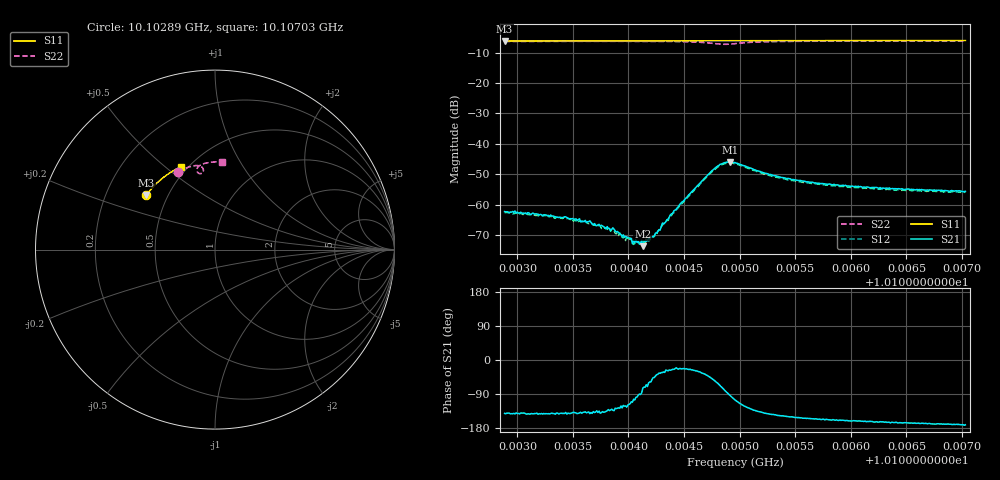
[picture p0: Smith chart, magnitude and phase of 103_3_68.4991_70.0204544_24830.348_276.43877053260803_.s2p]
#  HZ  S  RI  R  50.00
! Rohde & Schwarz Vector Network Analyzer
! Rohde-Schwarz,ZNB20-2Port,1311601062101988,3.16
! Created: UTC 3/20/2024, 4:53:09 PM
! freq[Hz]  re:S11  im:S11  re:S21  im:S21  re:S12  im:S12  re:S22  im:S22
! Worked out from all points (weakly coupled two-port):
!   401 points, 10.10289 GHz to 10.10703 GHz, reference 50 ohm
!   highest |S21| = -45.89 dB at 10.10492 GHz (marker M1); lowest = -73.5 dB at 10.10413 GHz (marker M2)
!   lowest |S11| = -6.2 dB at 10.10289 GHz (marker M3), VSWR 2.91, Z = 19 + j15.2 ohm
!   |S11| at or under -10 dB: nowhere
!   |S22| runs from -7.3 to -6.2 dB; largest |S21 - S12| = 0.0005
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1.0102886e10  -0.3819 0.3039  -0.000601 -0.000489  -0.000533 -0.000516  -0.2047 0.4346
1.01033e10  -0.3665 0.3239  -0.000532 -0.000427  -0.000474 -0.000445  -0.1799 0.4466
1.010358e10  -0.3556 0.3372  -0.000419 -0.000346  -0.000387 -0.000355  -0.1621 0.454
1.0103632e10  -0.3536 0.3395  -0.000394 -0.000354  -0.000347 -0.000363  -0.1587 0.4553
1.0103725e10  -0.3497 0.3438  -0.000352 -0.000313  -0.000309 -0.000333  -0.1526 0.4575
1.010388e10  -0.3434 0.3508  -0.000226 -0.000297  -0.000189 -0.000284  -0.1419 0.4611
1.0103953e10  -0.3404 0.3539  -0.000162 -0.000279  -0.000137 -0.000251  -0.1367 0.4625
1.0104005e10  -0.3383 0.3563  -0.000132 -0.000255  -8.78e-05 -0.000262  -0.1329 0.4635
1.0104057e10  -0.3359 0.3584  -6.37e-05 -0.000231  -4.91e-05 -0.000229  -0.129 0.4645
1.0104129e10  -0.333 0.3618  5.76e-05 -0.000202  7.17e-05 -0.000249  -0.1236 0.4658
1.010415e10  -0.332 0.3626  8.05e-05 -0.000244  8.92e-05 -0.000196  -0.1221 0.4663
1.0104202e10  -0.3297 0.3648  0.000156 -0.000249  0.000174 -0.000224  -0.1177 0.467
1.0104274e10  -0.3267 0.3678  0.000323 -0.000222  0.000329 -0.000192  -0.1115 0.4677
1.0104399e10  -0.3211 0.3731  0.000661 -0.000302  0.000693 -0.000241  -0.1001 0.4684
1.0104751e10  -0.3051 0.3873  0.00238 -0.00275  0.00252 -0.00239  -0.0644 0.443
1.0104844e10  -0.3008 0.3905  0.00134 -0.00456  0.0017 -0.00425  -0.0739 0.4253
1.0104917e10  -0.2976 0.3934  -0.000415 -0.00506  1.45e-05 -0.00485  -0.0903 0.425
1.0104958e10  -0.2958 0.395  -0.00131 -0.00477  -0.000837 -0.00463  -0.0971 0.4307
1.010529e10  -0.2801 0.4076  -0.00249 -0.00183  -0.00219 -0.00197  -0.0834 0.4697
1.0105652e10  -0.2621 0.4205  -0.00214 -0.000999  -0.00194 -0.00112  -0.0546 0.481
1.0106347e10  -0.2264 0.4427  -0.00183 -0.000504  -0.00167 -0.000632  -0.00582 0.4883
1.0107031e10  -0.1894 0.4611  -0.00164 -0.000261  -0.00157 -0.000393  0.0396 0.4886
